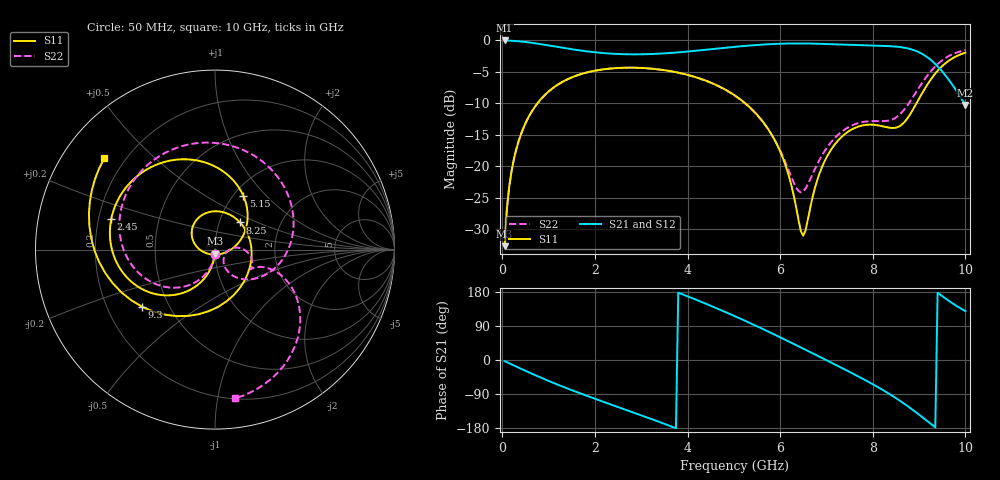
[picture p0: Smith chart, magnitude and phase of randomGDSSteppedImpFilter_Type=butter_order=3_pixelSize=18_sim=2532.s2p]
! freq	dB(S11)	phase(S11)	dB(S12)	phase(S12)
!  dB(S21)	phase(S21)	dB(S22)	phase(S22)
!S-par simulation data
#  GHz  S  DB  R 50
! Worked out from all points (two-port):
!   200 points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, 50 MHz to 10 GHz, reference 50 ohm
!   highest |S21| = -0.01 dB at 50 MHz (marker M1); lowest = -10.3 dB at 10 GHz (marker M2)
!   |S21| within 3 dB of the highest: start of sweep to 9.237 GHz
!   lowest |S11| = -32.7 dB at 50 MHz (marker M3), VSWR 1.05, Z = 49.8 - j2.3 ohm
!   |S11| at or under -10 dB: start of sweep to 759.9 MHz; 5.247 GHz to 8.944 GHz (3.697 GHz wide, 52.1 % of centre)
!   |S22| runs from -32.7 to -1.5 dB; largest |S21 - S12| = 0
!   S11 on the Smith chart (normalised r, x): 50 MHz: 1.00, -0.05; 2.45 GHz: 0.25, +0.13; 5.15 GHz: 1.11, +0.75; 8.25 GHz: 1.26, +0.40; 9.3 GHz: 0.35, -0.31; 10 GHz: 0.13, +0.36
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0.05  -32.72 -92.7  -0.01 -2.9  -0.01 -2.9  -32.72 -93.3
0.1  -26.72 -95.5  -0.02 -5.8  -0.02 -5.8  -26.73 -96.7
0.2  -20.79 -100.8  -0.05 -11.6  -0.05 -11.6  -20.79 -103.2
0.5  -13.19 -116.1  -0.25 -28.6  -0.25 -28.6  -13.20 -122.0
1.1  -7.53 -144.2  -0.92 -60.3  -0.92 -60.3  -7.54 -157.5
1.75  -5.25 -170.8  -1.67 -91.1  -1.67 -91.1  -5.26 167.4
2.45  -4.40 163.8  -2.14 -122.0  -2.14 -122.0  -4.42 131.3
3.4  -4.63 130.7  -2.10 -163.8  -2.10 -163.8  -4.65 81.3
4.25  -6.02 99.6  -1.59 155.8  -1.59 155.8  -6.04 32.9
5.05  -8.89 66.6  -1.00 114.1  -1.00 114.1  -8.94 -15.0
5.15  -9.43 62.0  -0.93 108.6  -0.93 108.6  -9.48 -20.9
5.95  -16.84 18.4  -0.54 62.8  -0.54 62.8  -16.76 -59.3
6.5  -31.05 -92.0  -0.48 29.9  -0.48 29.9  -24.00 -18.8
6.7  -24.93 -161.6  -0.51 17.8  -0.51 17.8  -21.27 2.1
7  -18.63 164.5  -0.57 -0.5  -0.57 -0.5  -17.17 3.7
7.45  -14.60 128.8  -0.70 -28.4  -0.70 -28.4  -13.91 -10.8
8.25  -13.72 47.2  -0.88 -81.6  -0.88 -81.6  -12.83 -28.6
8.35  -13.87 31.6  -0.91 -89.0  -0.91 -89.0  -12.73 -27.4
8.8  -11.82 -58.1  -1.35 -125.9  -1.35 -125.9  -9.76 -19.3
9.3  -5.74 -142.0  -3.40 -173.0  -3.40 -173.0  -4.51 -37.1
9.65  -3.19 174.7  -6.34 155.4  -6.34 155.4  -2.44 -59.9
10  -1.94 140.3  -10.29 129.0  -10.29 129.0  -1.55 -82.4
